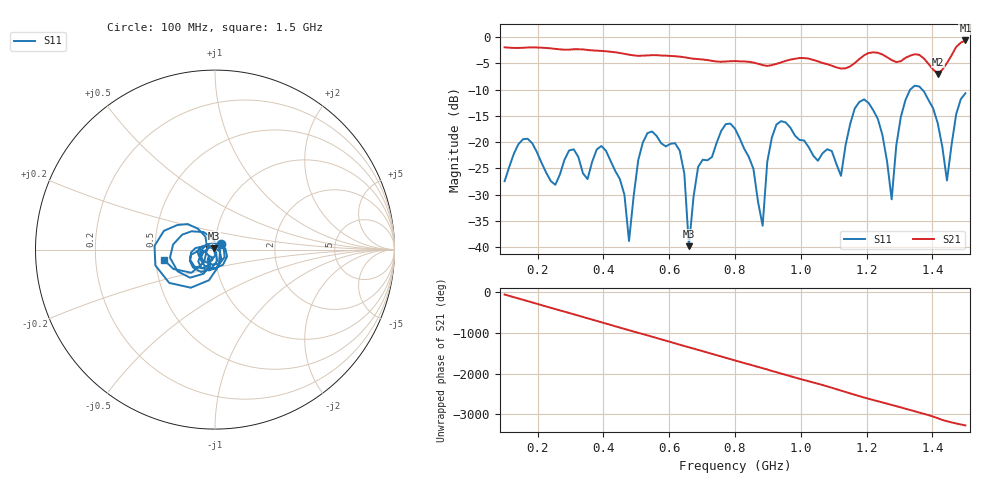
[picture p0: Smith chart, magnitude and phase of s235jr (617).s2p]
! NanoVNA-App
! Date: 2025-09-25 15:08:58
! Start: 100MHz Stop: 1,5GHz Points: 101
! S-Parameter data: F S11 S21 S12 S22
# Hz S RI R 50
!  Frequency  S11_Real  S11_Imag  S21_Real  S21_Imag  S12_Real  S12_Imag  S22_Real  S22_Imag
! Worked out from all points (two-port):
!   101 points, 100 MHz to 1.5 GHz, reference 50 ohm
!   highest |S21| = -0.66 dB at 1.5 GHz (marker M1); lowest = -7.0 dB at 1.416 GHz (marker M2)
!   |S21| within 3 dB of the highest: start of sweep to 616.7 MHz; 1.189 GHz to 1.257 GHz (67.96 MHz wide, 5.56 % of centre) (the widest 2 of 4)
!   lowest |S11| = -39.8 dB at 660 MHz (marker M3), VSWR 1.02, Z = 49.2 + j0.641 ohm
!   |S11| at or under -10 dB: start of sweep to 1.332 GHz; 1.369 GHz to end of sweep
!   S12 and S22 are empty: the file has one direction only
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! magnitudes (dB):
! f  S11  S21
! 100 MHz  -27.5  -2.0
! 156 MHz  -19.5  -2.1
! 338 MHz  -26.0  -2.4
! 408 MHz  -21.7  -2.7
! 478 MHz  -38.9  -3.4
! 520 MHz  -20.1  -3.6
! 576 MHz  -20.3  -3.5
! 632 MHz  -21.6  -3.7
! 660 MHz  -39.8  -4.0
! 688 MHz  -24.7  -4.2
! 800 MHz  -17.5  -4.6
! 884 MHz  -35.9  -5.3
! 926 MHz  -16.7  -5.1
! 1.038 GHz  -22.6  -4.4
! 1.122 GHz  -26.4  -6.0
! 1.192 GHz  -11.9  -3.5
! 1.248 GHz  -18.7  -3.3
! 1.276 GHz  -30.9  -4.4
! 1.332 GHz  -10.0  -3.6
! 1.416 GHz  -16.4  -7.0
! 1.444 GHz  -27.3  -4.9
! 1.5 GHz  -10.7  -0.7
